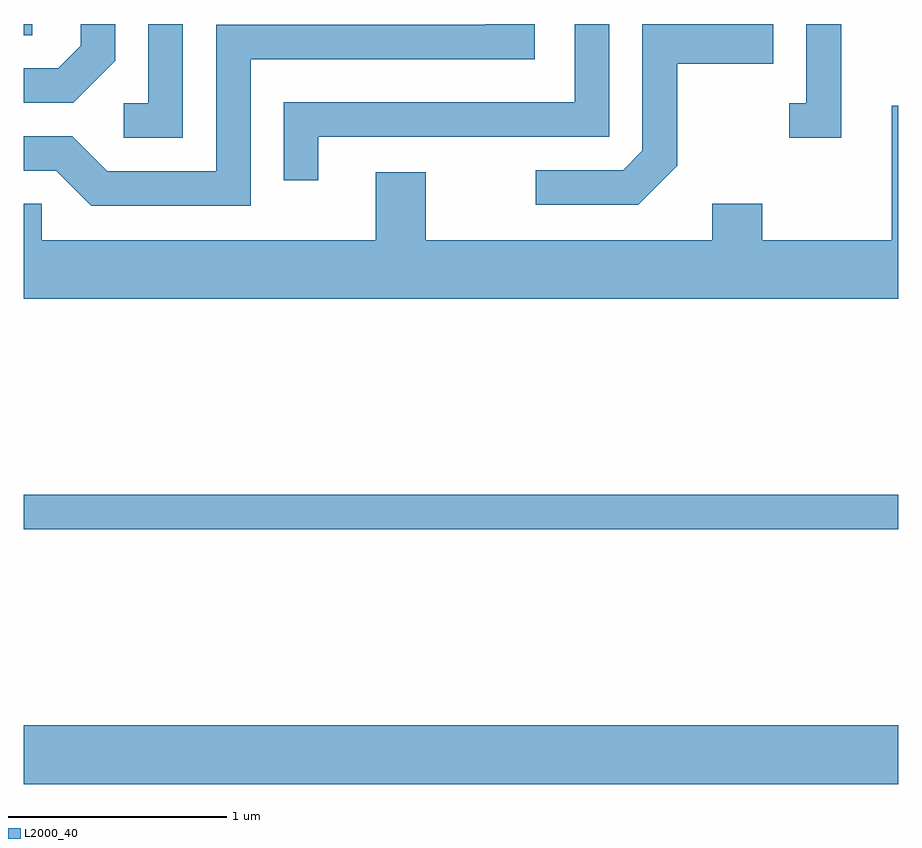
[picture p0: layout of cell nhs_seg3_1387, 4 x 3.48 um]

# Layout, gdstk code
import gdstk
lib = gdstk.Library(unit=1e-6, precision=1e-09)
def R(c, l, rs):  # rectangles x0, y0, x1, y1
    for r in rs: c.add(gdstk.rectangle(r[:2], r[2:], *l))
def P(c, l, *ps):  # polygons
    for p in ps: c.add(gdstk.Polygon(p, *l))
L2000_40 = (2000, 40)

nhs_seg3_1387 = lib.new_cell('nhs_seg3_1387')
R(nhs_seg3_1387, L2000_40, [(225.611,1170.416,229.611,1170.684), (225.611,1171.581,229.611,1171.739), (225.611,1173.841,225.649,1173.892)])
P(nhs_seg3_1387, L2000_40, [(226.649,1173.731),(227.949,1173.731),(227.949,1173.892),(227.721,1173.892),(227.721,1173.889),(226.491,1173.889),(226.491,1173.219),(225.992,1173.219),(225.832,1173.379),(225.611,1173.379),(225.611,1173.221),(225.759,1173.221),(225.919,1173.061),(226.649,1173.061)],
  [(226.959,1173.376),(228.289,1173.376),(228.289,1173.892),(228.131,1173.892),(228.131,1173.534),(226.801,1173.534),(226.801,1173.178),(226.959,1173.178)],
  [(226.339,1173.892),(226.181,1173.892),(226.181,1173.529),(226.068,1173.529),(226.068,1173.371),(226.339,1173.371)],
  [(226.029,1173.724),(226.029,1173.892),(225.871,1173.892),(225.871,1173.792),(225.769,1173.689),(225.611,1173.689),(225.611,1173.531),(225.837,1173.531)],
  [(228.599,1173.244),(228.599,1173.711),(229.039,1173.711),(229.039,1173.892),(228.441,1173.892),(228.441,1173.312),(228.354,1173.224),(227.953,1173.224),(227.953,1173.066),(228.422,1173.066)],
  [(229.349,1173.892),(229.191,1173.892),(229.191,1173.529),(229.113,1173.529),(229.113,1173.371),(229.349,1173.371)],
  [(229.611,1173.519),(229.581,1173.519),(229.581,1172.904),(228.989,1172.904),(228.989,1173.069),(228.761,1173.069),(228.761,1172.904),(227.449,1172.904),(227.449,1173.214),(227.221,1173.214),(227.221,1172.904),(225.694,1172.904),(225.694,1173.069),(225.611,1173.069),(225.611,1172.636),(229.611,1172.636)])

lib.write_gds('nhs_seg3_1387.gds')
